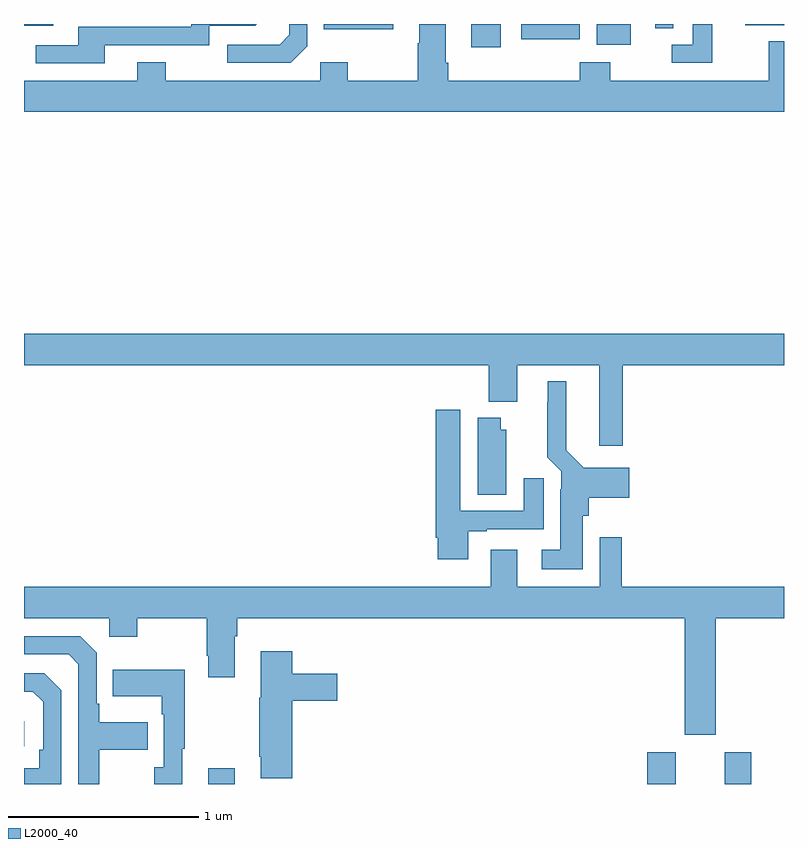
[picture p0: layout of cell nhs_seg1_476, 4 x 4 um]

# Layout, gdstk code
import gdstk
lib = gdstk.Library(unit=1e-6, precision=1e-09)
def R(c, l, rs):  # rectangles x0, y0, x1, y1
    for r in rs: c.add(gdstk.rectangle(r[:2], r[2:], *l))
def P(c, l, *ps):  # polygons
    for p in ps: c.add(gdstk.Polygon(p, *l))
L2000_40 = (2000, 40)

nhs_seg1_476 = lib.new_cell('nhs_seg1_476')
R(nhs_seg1_476, L2000_40, [(137.969,544.199,138.109,544.282), (140.279,544.199,140.431,544.366), (140.687,544.199,140.827,544.366), (137,544.398,137.002,544.528), (139.355,548.076,139.51,548.199), (140.015,548.09,140.194,548.199), (139.617,548.119,139.926,548.199), (138.577,548.171,138.944,548.199), (140.322,548.176,140.418,548.199), (137,548.189,137.155,548.199), (140.795,548.193,141,548.199)])
P(nhs_seg1_476, L2000_40, [(141,548.108),(140.921,548.108),(140.921,547.9),(140.085,547.9),(140.085,547.999),(139.925,547.999),(139.925,547.9),(139.232,547.9),(139.232,547.996),(139.219,547.996),(139.219,548.199),(139.079,548.199),(139.079,548.099),(139.072,548.099),(139.072,547.9),(138.705,547.9),(138.705,547.999),(138.558,547.999),(138.558,547.9),(137.745,547.9),(137.745,547.999),(137.597,547.999),(137.597,547.9),(137,547.9),(137,547.736),(141,547.736)],
  [(138.492,548.082),(138.492,548.199),(138.396,548.199),(138.396,548.142),(138.345,548.091),(138.069,548.091),(138.069,547.995),(138.405,547.995)],
  [(140.623,548.199),(140.519,548.199),(140.519,548.091),(140.409,548.091),(140.409,547.995),(140.623,547.995)],
  [(137.425,548.088),(137.976,548.088),(137.976,548.19),(138.216,548.19),(138.225,548.199),(137.88,548.199),(137.88,548.184),(137.285,548.184),(137.285,548.088),(137.061,548.088),(137.061,547.992),(137.425,547.992)],
  [(140.15,546.404),(141,546.404),(141,546.568),(137,546.568),(137,546.404),(139.445,546.404),(139.445,546.212),(139.597,546.212),(139.597,546.404),(140.027,546.404),(140.027,545.979),(140.15,545.979)],
  [(139.942,545.61),(139.973,545.61),(139.973,545.705),(140.185,545.705),(140.185,545.863),(139.947,545.863),(139.855,545.956),(139.855,546.319),(139.757,546.319),(139.757,546.209),(139.753,546.209),(139.753,545.918),(139.827,545.844),(139.827,545.75),(139.823,545.75),(139.823,545.431),(139.725,545.431),(139.725,545.33),(139.942,545.33)],
  [(139.339,545.529),(139.435,545.529),(139.435,545.541),(139.735,545.541),(139.735,545.809),(139.631,545.809),(139.631,545.637),(139.297,545.637),(139.297,546.169),(139.166,546.169),(139.166,545.494),(139.178,545.494),(139.178,545.382),(139.339,545.382)],
  [(139.537,546.063),(139.51,546.063),(139.51,546.127),(139.388,546.127),(139.388,545.722),(139.537,545.722)],
  [(140.641,545.072),(141,545.072),(141,545.236),(140.147,545.236),(140.147,545.497),(140.031,545.497),(140.031,545.236),(139.597,545.236),(139.597,545.431),(139.457,545.431),(139.457,545.236),(137,545.236),(137,545.072),(137.448,545.072),(137.448,544.973),(137.595,544.973),(137.595,545.072),(137.962,545.072),(137.962,544.873),(137.969,544.873),(137.969,544.761),(138.109,544.761),(138.109,544.976),(138.122,544.976),(138.122,545.072),(140.477,545.072),(140.477,544.458),(140.641,544.458)],
  [(137.395,544.378),(137.651,544.378),(137.651,544.525),(137.395,544.525),(137.395,544.621),(137.382,544.621),(137.382,544.89),(137.295,544.977),(137,544.977),(137,544.881),(137.235,544.881),(137.286,544.83),(137.286,544.199),(137.395,544.199)],
  [(138.413,544.637),(138.649,544.637),(138.649,544.779),(138.413,544.779),(138.413,544.897),(138.245,544.897),(138.245,544.653),(138.238,544.653),(138.238,544.342),(138.245,544.342),(138.245,544.23),(138.413,544.23)],
  [(137.833,544.385),(137.845,544.385),(137.845,544.801),(137.467,544.801),(137.467,544.661),(137.724,544.661),(137.724,544.565),(137.736,544.565),(137.736,544.286),(137.685,544.286),(137.685,544.199),(137.833,544.199)],
  [(137.196,544.692),(137.106,544.782),(137,544.782),(137,544.685),(137.047,544.685),(137.1,544.632),(137.1,544.378),(137.08,544.378),(137.08,544.281),(137,544.281),(137,544.199),(137.196,544.199)])

lib.write_gds('nhs_seg1_476.gds')
